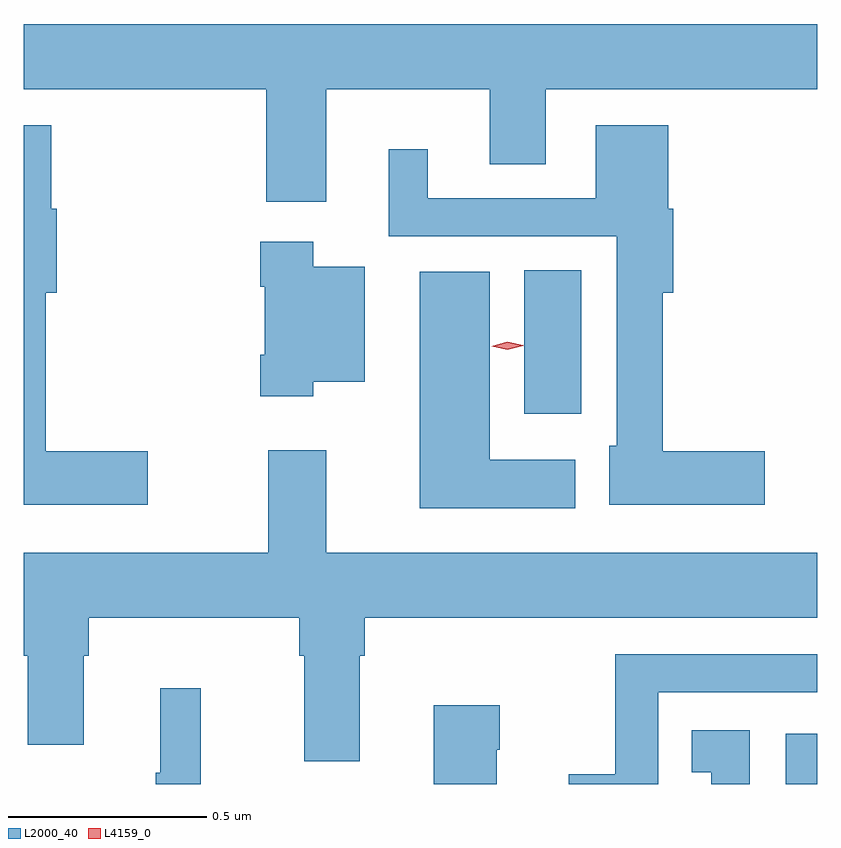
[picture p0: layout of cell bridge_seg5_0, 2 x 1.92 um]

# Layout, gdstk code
import gdstk
lib = gdstk.Library(unit=1e-6, precision=1e-09)
def R(c, l, rs):  # rectangles x0, y0, x1, y1
    for r in rs: c.add(gdstk.rectangle(r[:2], r[2:], *l))
def P(c, l, *ps):  # polygons
    for p in ps: c.add(gdstk.Polygon(p, *l))
L2000_40 = (2000, 40)
L4159_0 = (4159, 0)

bridge_seg5_0 = lib.new_cell('bridge_seg5_0')
R(bridge_seg5_0, L2000_40, [(623.994,893.637,624.074,893.763), (623.336,894.57,623.479,894.932)])
P(bridge_seg5_0, L2000_40, [(622.837,895.388),(623.249,895.388),(623.249,895.198),(623.389,895.198),(623.389,895.388),(624.074,895.388),(624.074,895.552),(622.074,895.552),(622.074,895.388),(622.685,895.388),(622.685,895.104),(622.837,895.104)],
  [(622.387,894.476),(622.13,894.476),(622.13,894.875),(622.157,894.875),(622.157,895.086),(622.144,895.086),(622.144,895.297),(622.074,895.297),(622.074,894.341),(622.387,894.341)],
  [(623.941,894.476),(623.684,894.476),(623.684,894.875),(623.711,894.875),(623.711,895.086),(623.698,895.086),(623.698,895.297),(623.516,895.297),(623.516,895.113),(623.092,895.113),(623.092,895.237),(622.994,895.237),(622.994,895.017),(623.568,895.017),(623.568,894.489),(623.549,894.489),(623.549,894.341),(623.941,894.341)],
  [(622.804,894.65),(622.933,894.65),(622.933,894.94),(622.804,894.94),(622.804,895.003),(622.67,895.003),(622.67,894.89),(622.682,894.89),(622.682,894.718),(622.67,894.718),(622.67,894.614),(622.804,894.614)],
  [(623.464,894.454),(623.248,894.454),(623.248,894.928),(623.072,894.928),(623.072,894.332),(623.464,894.332)],
  [(622.921,893.96),(622.934,893.96),(622.934,894.056),(624.074,894.056),(624.074,894.22),(622.837,894.22),(622.837,894.478),(622.69,894.478),(622.69,894.22),(622.074,894.22),(622.074,893.96),(622.085,893.96),(622.085,893.736),(622.225,893.736),(622.225,893.96),(622.238,893.96),(622.238,894.056),(622.769,894.056),(622.769,893.96),(622.781,893.96),(622.781,893.694),(622.921,893.694)],
  [(623.673,893.868),(624.074,893.868),(624.074,893.964),(623.565,893.964),(623.565,893.662),(623.447,893.662),(623.447,893.637),(623.673,893.637)],
  [(622.52,893.878),(622.418,893.878),(622.418,893.665),(622.407,893.665),(622.407,893.637),(622.52,893.637)],
  [(623.266,893.723),(623.274,893.723),(623.274,893.836),(623.108,893.836),(623.108,893.637),(623.266,893.637)],
  [(623.904,893.773),(623.758,893.773),(623.758,893.667),(623.807,893.667),(623.807,893.637),(623.904,893.637)])
P(bridge_seg5_0, L4159_0, [(623.293,894.731),(623.253,894.74),(623.253,894.74),(623.253,894.74),(623.293,894.751),(623.333,894.742),(623.333,894.741),(623.333,894.741)])

lib.write_gds('bridge_seg5_0.gds')
